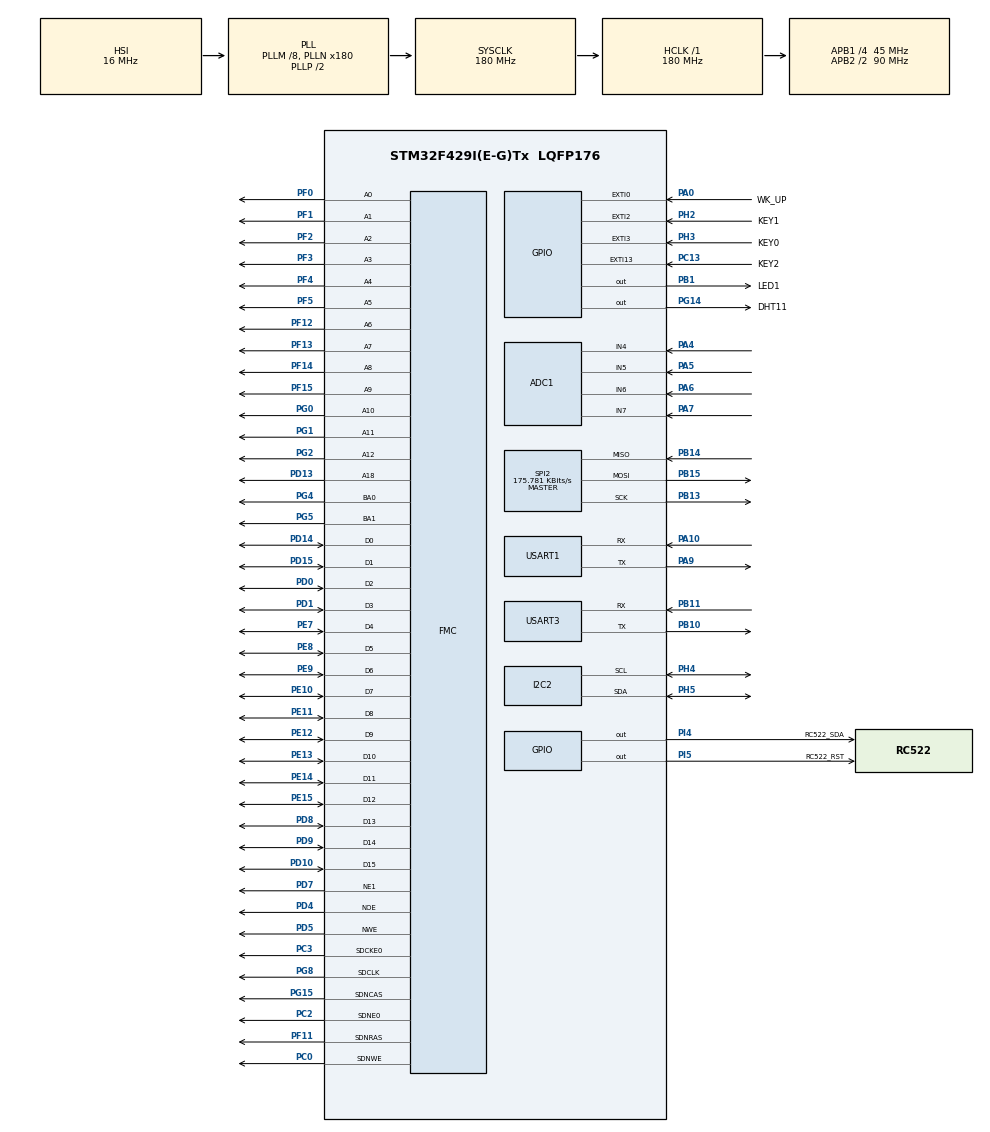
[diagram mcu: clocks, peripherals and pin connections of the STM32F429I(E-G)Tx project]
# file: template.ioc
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ADC1.Channel-4\#ChannelRegularConversion=ADC_CHANNEL_4
ADC1.Channel-5\#ChannelRegularConversion=ADC_CHANNEL_5
ADC1.Channel-6\#ChannelRegularConversion=ADC_CHANNEL_6
ADC1.Channel-7\#ChannelRegularConversion=ADC_CHANNEL_7
ADC1.ContinuousConvMode=ENABLE
ADC1.DMAContinuousRequests=ENABLE
ADC1.NbrOfConversion=4
ADC1.NbrOfConversionFlag=1
ADC1.Rank-4\#ChannelRegularConversion=1
ADC1.Rank-5\#ChannelRegularConversion=2
ADC1.Rank-6\#ChannelRegularConversion=3
ADC1.Rank-7\#ChannelRegularConversion=4
ADC1.SamplingTime-4\#ChannelRegularConversion=ADC_SAMPLETIME_15CYCLES
ADC1.SamplingTime-5\#ChannelRegularConversion=ADC_SAMPLETIME_15CYCLES
ADC1.SamplingTime-6\#ChannelRegularConversion=ADC_SAMPLETIME_15CYCLES
ADC1.SamplingTime-7\#ChannelRegularConversion=ADC_SAMPLETIME_15CYCLES
ADC1.ScanConvMode=ENABLE
ADC1.master=1
Dma.ADC1.1.Direction=DMA_PERIPH_TO_MEMORY
Dma.ADC1.1.FIFOMode=DMA_FIFOMODE_DISABLE
Dma.ADC1.1.Instance=DMA2_Stream0
Dma.ADC1.1.MemDataAlignment=DMA_MDATAALIGN_WORD
Dma.ADC1.1.MemInc=DMA_MINC_ENABLE
Dma.ADC1.1.Mode=DMA_CIRCULAR
Dma.ADC1.1.PeriphDataAlignment=DMA_PDATAALIGN_WORD
Dma.ADC1.1.PeriphInc=DMA_PINC_DISABLE
Dma.ADC1.1.Priority=DMA_PRIORITY_LOW
Dma.Request0=USART3_RX
Dma.Request1=ADC1
Dma.USART3_RX.0.Direction=DMA_PERIPH_TO_MEMORY
Dma.USART3_RX.0.FIFOMode=DMA_FIFOMODE_DISABLE
Dma.USART3_RX.0.Instance=DMA1_Stream1
Dma.USART3_RX.0.MemDataAlignment=DMA_MDATAALIGN_BYTE
Dma.USART3_RX.0.MemInc=DMA_MINC_ENABLE
Dma.USART3_RX.0.Mode=DMA_NORMAL
Dma.USART3_RX.0.PeriphDataAlignment=DMA_PDATAALIGN_BYTE
Dma.USART3_RX.0.PeriphInc=DMA_PINC_DISABLE
Dma.USART3_RX.0.Priority=DMA_PRIORITY_LOW
FMC.BusTurnAroundDuration1=1
FMC.CASLatency1=FMC_SDRAM_CAS_LATENCY_3
FMC.ColumnBitsNumber1=FMC_SDRAM_COLUMN_BITS_NUM_9
FMC.DataSetupTime1=46
FMC.ExitSelfRefreshDelay1=8
FMC.ExtendedBusTurnAroundDuration1=1
FMC.ExtendedDataSetupTime1=15
FMC.ExtendedMode1=FMC_EXTENDED_MODE_ENABLE
FMC.LoadToActiveDelay1=2
FMC.RCDDelay1=2
FMC.RPDelay1=2
FMC.ReadBurst1=FMC_SDRAM_RBURST_ENABLE
FMC.ReadPipeDelay1=FMC_SDRAM_RPIPE_DELAY_1
FMC.RowCycleDelay1=6
FMC.SDClockPeriod1=FMC_SDRAM_CLOCK_PERIOD_2
FMC.SelfRefreshTime1=6
FMC.WriteOperation1=FMC_WRITE_OPERATION_ENABLE
FMC.WriteRecoveryTime1=4
IWDG.Prescaler=IWDG_PRESCALER_64
Mcu.Family=STM32F4
Mcu.Name=STM32F429I(E-G)Tx
Mcu.Package=LQFP176
NVIC.DMA1_Stream1_IRQn=true\:0\:0\:false\:false\:true\:false\:true\:true
NVIC.DMA2_Stream0_IRQn=true\:0\:0\:false\:false\:true\:false\:true\:true
NVIC.EXTI0_IRQn=true\:3\:0\:true\:false\:true\:true\:true\:true
NVIC.EXTI15_10_IRQn=true\:3\:0\:true\:false\:true\:true\:true\:true
NVIC.EXTI2_IRQn=true\:3\:0\:true\:false\:true\:true\:true\:true
NVIC.EXTI3_IRQn=true\:3\:0\:true\:false\:true\:true\:true\:true
NVIC.PriorityGroup=NVIC_PRIORITYGROUP_4
NVIC.TIM1_UP_TIM10_IRQn=true\:2\:0\:true\:false\:true\:true\:true\:true
NVIC.USART3_IRQn=true\:0\:0\:false\:false\:true\:true\:true\:true
PA0/WKUP.GPIO_Label=WK_UP
PA0/WKUP.GPIO_PuPd=GPIO_PULLDOWN
PA0/WKUP.Signal=GPXTI0
PA10.Mode=Asynchronous
PA10.Signal=USART1_RX
PA13.Mode=Serial_Wire
PA13.Signal=SYS_JTMS-SWDIO
PA14.Mode=Serial_Wire
PA14.Signal=SYS_JTCK-SWCLK
PA4.Signal=ADCx_IN4
PA5.Signal=ADCx_IN5
PA6.Signal=ADCx_IN6
PA7.Signal=ADCx_IN7
PA9.Mode=Asynchronous
PA9.Signal=USART1_TX
PB1.GPIO_Label=LED1
PB1.Signal=GPIO_Output
PB10.Mode=Asynchronous
PB10.Signal=USART3_TX
PB11.Mode=Asynchronous
PB11.Signal=USART3_RX
PB13.Mode=Full_Duplex_Master
PB13.Signal=SPI2_SCK
PB14.Mode=Full_Duplex_Master
PB14.Signal=SPI2_MISO
PB15.Mode=Full_Duplex_Master
PB15.Signal=SPI2_MOSI
PC0.Signal=FMC_SDNWE
PC13.GPIO_Label=KEY2
PC13.GPIO_PuPd=GPIO_PULLUP
PC13.Signal=GPXTI13
PC14/OSC32_IN.Mode=LSE-External-Oscillator
PC14/OSC32_IN.Signal=RCC_OSC32_IN
PC15/OSC32_OUT.Mode=LSE-External-Oscillator
PC15/OSC32_OUT.Signal=RCC_OSC32_OUT
PC2.Mode=SdramChipSelect1_1
PC2.Signal=FMC_SDNE0
PC3.Mode=SdramChipSelect1_1
PC3.Signal=FMC_SDCKE0
PD0.Signal=FMC_D2_DA2
PD1.Signal=FMC_D3_DA3
PD10.Signal=FMC_D15_DA15
PD13.Signal=FMC_A18
PD14.Signal=FMC_D0_DA0
PD15.Signal=FMC_D1_DA1
PD4.Signal=FMC_NOE
PD5.Signal=FMC_NWE
PD7.Mode=NorPsramChipSelect1_1
PD7.Signal=FMC_NE1
PD8.Signal=FMC_D13_DA13
PD9.Signal=FMC_D14_DA14
PE0.Signal=FMC_NBL0
PE1.Signal=FMC_NBL1
PE10.Signal=FMC_D7_DA7
PE11.Signal=FMC_D8_DA8
PE12.Signal=FMC_D9_DA9
PE13.Signal=FMC_D10_DA10
PE14.Signal=FMC_D11_DA11
PE15.Signal=FMC_D12_DA12
PE7.Signal=FMC_D4_DA4
PE8.Signal=FMC_D5_DA5
PE9.Signal=FMC_D6_DA6
PF0.Signal=FMC_A0
PF1.Signal=FMC_A1
PF11.Signal=FMC_SDNRAS
PF12.Signal=FMC_A6
PF13.Signal=FMC_A7
PF14.Signal=FMC_A8
PF15.Signal=FMC_A9
PF2.Signal=FMC_A2
PF3.Signal=FMC_A3
PF4.Signal=FMC_A4
PF5.Signal=FMC_A5
PG0.Signal=FMC_A10
PG1.Signal=FMC_A11
PG14.GPIO_Label=DHT11
PG14.Signal=GPIO_Output
PG15.Signal=FMC_SDNCAS
PG2.Signal=FMC_A12
PG4.Signal=FMC_A14_BA0
PG5.Signal=FMC_A15_BA1
PG8.Signal=FMC_SDCLK
PH0/OSC_IN.Mode=HSE-External-Oscillator
PH0/OSC_IN.Signal=RCC_OSC_IN
PH1/OSC_OUT.Mode=HSE-External-Oscillator
PH1/OSC_OUT.Signal=RCC_OSC_OUT
PH2.GPIO_Label=KEY1
PH2.GPIO_PuPd=GPIO_PULLUP
PH2.Signal=GPXTI2
PH3.GPIO_Label=KEY0
PH3.GPIO_PuPd=GPIO_PULLUP
PH3.Signal=GPXTI3
PH4.Mode=I2C
PH4.Signal=I2C2_SCL
PH5.Mode=I2C
PH5.Signal=I2C2_SDA
PI4.GPIO_Label=RC522_SDA
PI4.Signal=GPIO_Output
PI5.GPIO_Label=RC522_RST
PI5.Signal=GPIO_Output
ProjectManager.HeapSize=0xF00
ProjectManager.StackSize=0xF00
ProjectManager.TargetToolchain=MDK-ARM V5.32
RCC.48MHZClocksFreq_Value=90000000
RCC.AHBFreq_Value=180000000
RCC.APB1CLKDivider=RCC_HCLK_DIV4
RCC.APB1Freq_Value=45000000
RCC.APB1TimFreq_Value=90000000
RCC.APB2CLKDivider=RCC_HCLK_DIV2
RCC.APB2Freq_Value=90000000
RCC.APB2TimFreq_Value=180000000
RCC.CortexFreq_Value=180000000
RCC.HCLKFreq_Value=180000000
RCC.HSE_VALUE=25000000
RCC.HSI_VALUE=16000000
RCC.PLLM=8
RCC.PLLN=180
RCC.SYSCLKFreq_VALUE=180000000
RCC.SYSCLKSource=RCC_SYSCLKSOURCE_PLLCLK
RCC.VCOOutputFreq_Value=360000000
SH.ADCx_IN4.0=ADC1_IN4,IN4
SH.ADCx_IN5.0=ADC1_IN5,IN5
SH.ADCx_IN6.0=ADC1_IN6,IN6
SH.ADCx_IN7.0=ADC1_IN7,IN7
SH.FMC_A0.0=FMC_A0,13b-sda1
SH.FMC_A1.0=FMC_A1,13b-sda1
SH.FMC_A10.0=FMC_A10,13b-sda1
SH.FMC_A11.0=FMC_A11,13b-sda1
SH.FMC_A12.0=FMC_A12,13b-sda1
SH.FMC_A14_BA0.0=FMC_BA0,FourSdramBanks1
SH.FMC_A15_BA1.0=FMC_BA1,FourSdramBanks1
SH.FMC_A18.0=FMC_A18,A18_1
SH.FMC_A2.0=FMC_A2,13b-sda1
SH.FMC_A3.0=FMC_A3,13b-sda1
SH.FMC_A4.0=FMC_A4,13b-sda1
SH.FMC_A5.0=FMC_A5,13b-sda1
SH.FMC_A6.0=FMC_A6,13b-sda1
SH.FMC_A7.0=FMC_A7,13b-sda1
SH.FMC_A8.0=FMC_A8,13b-sda1
SH.FMC_A9.0=FMC_A9,13b-sda1
SH.FMC_D0_DA0.0=FMC_D0,16b-d1
SH.FMC_D0_DA0.1=FMC_D0,sd-16b-d1
SH.FMC_D10_DA10.0=FMC_D10,16b-d1
SH.FMC_D10_DA10.1=FMC_D10,sd-16b-d1
SH.FMC_D11_DA11.0=FMC_D11,16b-d1
SH.FMC_D11_DA11.1=FMC_D11,sd-16b-d1
SH.FMC_D12_DA12.0=FMC_D12,16b-d1
SH.FMC_D12_DA12.1=FMC_D12,sd-16b-d1
SH.FMC_D13_DA13.0=FMC_D13,16b-d1
SH.FMC_D13_DA13.1=FMC_D13,sd-16b-d1
SH.FMC_D14_DA14.0=FMC_D14,16b-d1
SH.FMC_D14_DA14.1=FMC_D14,sd-16b-d1
SH.FMC_D15_DA15.0=FMC_D15,16b-d1
SH.FMC_D15_DA15.1=FMC_D15,sd-16b-d1
SH.FMC_D1_DA1.0=FMC_D1,16b-d1
SH.FMC_D1_DA1.1=FMC_D1,sd-16b-d1
SH.FMC_D2_DA2.0=FMC_D2,16b-d1
SH.FMC_D2_DA2.1=FMC_D2,sd-16b-d1
SH.FMC_D3_DA3.0=FMC_D3,16b-d1
SH.FMC_D3_DA3.1=FMC_D3,sd-16b-d1
SH.FMC_D4_DA4.0=FMC_D4,16b-d1
SH.FMC_D4_DA4.1=FMC_D4,sd-16b-d1
SH.FMC_D5_DA5.0=FMC_D5,16b-d1
SH.FMC_D5_DA5.1=FMC_D5,sd-16b-d1
SH.FMC_D6_DA6.0=FMC_D6,16b-d1
SH.FMC_D6_DA6.1=FMC_D6,sd-16b-d1
SH.FMC_D7_DA7.0=FMC_D7,16b-d1
SH.FMC_D7_DA7.1=FMC_D7,sd-16b-d1
SH.FMC_D8_DA8.0=FMC_D8,16b-d1
SH.FMC_D8_DA8.1=FMC_D8,sd-16b-d1
SH.FMC_D9_DA9.0=FMC_D9,16b-d1
SH.FMC_D9_DA9.1=FMC_D9,sd-16b-d1
SH.FMC_NBL0.0=FMC_NBL0
SH.FMC_NBL1.0=FMC_NBL1
SH.FMC_NOE.0=FMC_NOE,Lcd1
SH.FMC_NWE.0=FMC_NWE,Lcd1
SH.FMC_SDCLK.0=FMC_SDCLK,13b-sda1
SH.FMC_SDNCAS.0=FMC_SDNCAS,13b-sda1
SH.FMC_SDNRAS.0=FMC_SDNRAS,13b-sda1
SH.FMC_SDNWE.0=FMC_SDNWE,13b-sda1
SPI2.BaudRatePrescaler=SPI_BAUDRATEPRESCALER_256
SPI2.CalculateBaudRate=175.781 KBits/s
SPI2.Direction=SPI_DIRECTION_2LINES
SPI2.Mode=SPI_MODE_MASTER
SPI2.VirtualType=VM_MASTER
TIM1.Period=10000
TIM1.Prescaler=18000
USART1.VirtualMode=VM_ASYNC
USART3.VirtualMode=VM_ASYNC
VP_IWDG_VS_IWDG.Mode=IWDG_Activate
VP_TIM1_VS_ClockSourceINT.Mode=Internal
board=custom

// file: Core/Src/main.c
/* USER CODE BEGIN Header */
/**
  ******************************************************************************
  * @file           : main.c
  * @brief          : Main program body
  ******************************************************************************
  * @attention
  *
  * Copyright (c) 2023 STMicroelectronics.
  * All rights reserved.
  *
  * This software is licensed under terms that can be found in the LICENSE file
  * in the root directory of this software component.
  * If no LICENSE file comes with this software, it is provided AS-IS.
  *
  ******************************************************************************
  */
/* USER CODE END Header */
#include "main.h"
#include "adc.h"
#include "dma.h"
#include "i2c.h"
#include "iwdg.h"
#include "spi.h"
#include "tim.h"
#include "usart.h"
#include "gpio.h"
#include "fmc.h"

/* USER CODE BEGIN Includes */
#include "wifi.h"
#include "onenet.h"
#include "lcd.h"
#include "24c02.h"
#include "sdram.h"
#include "key.h"
#include "malloc.h"
#include "PCF8574.h"
#include "dht11.h"
#include "rc522.h"
/* USER CODE END Includes */

/* USER CODE BEGIN PTD */

#define AT_24_DATA_MAX 100
struct AT24CDATA
{
	uint8_t 	arr[AT_24_DATA_MAX];
	uint16_t 	len;
	uint16_t	addr;
};

/* USER CODE END PTD */

/* USER CODE BEGIN PV */
void sensor_read_data(void);
/* USER CODE END PV */

void SystemClock_Config(void);

/* USER CODE BEGIN 0 */
uint8_t net_connect = 0;            // 网咯是否连接的标志位
uint8_t connet_send_flag = 0;
uint32_t adc_value[40];              //adc数据缓冲区

uint32_t value1=0,value2=0,value3=0,value4=0;
uint8_t i=0;                         //for循环用到的变量而已

double temperature=0;               //温度
double humidity=0;                  //湿度
uint32_t Lighting=0,Turbidity=0,Gas=0;   //光照，浊度，烟雾的数据
char buf1[128];
//char buf2[40];
uint8_t at_data_arr[256];
uint16_t at24_addr = 0;
float voltage = 0;  // 电压

uint8_t cmd_flag = 0;    // 命令打印标志位

//void sensor_read_data(void);

extern uint8_t net_connect;
struct AT24CDATA at_data_struct = {0};    // 掉电的结构体

char json_arr[256];

extern uint8_t Data[5];
/* USER CODE END 0 */

int main(void)
{
  /* USER CODE BEGIN 1 */
    uint16_t timeCount = 0;
//	uint16_t time_wwdg = 0;
    unsigned char *dataPtr = NULL;
	uint8_t net_cone_num = 0;
  /* USER CODE END 1 */

  /* MCU Configuration--------------------------------------------------------*/

  /* Reset of all peripherals, Initializes the Flash interface and the Systick. */
  HAL_Init();

  /* Configure the system clock */
  SystemClock_Config();

  /* Initialize all configured peripherals */
  MX_GPIO_Init();
  MX_DMA_Init();
  MX_USART1_UART_Init();
  MX_USART3_UART_Init();
  MX_FMC_Init();
  MX_ADC1_Init();
  MX_I2C2_Init();
  MX_TIM1_Init();
  MX_SPI2_Init();
  MX_IWDG_Init();
  /* USER CODE BEGIN 2 */

	delay_init(180);
	LCD_Init();
	while(AT24C02_Check()){}
	while(pcf8574_Check()){}

	RC522_Init();
//	printf("等待管理员的卡\r\n");
//	while(ReaderCard()==0)

	DHT11_Init();

	SDRAM_Init();

	my_mem_init(SRAMIN);		    //初始化内部内存池
	my_mem_init(SRAMEX);		    //初始化外部内存池
	my_mem_init(SRAMCCM);		    //初始化CCM内存池

	KEY_Init();

	HAL_TIM_Base_Start_IT(&htim1);

	LCD_ShowString(10,40,240,32,32,"Apollo STM32F4/F7");
	LCD_ShowString(10,80,240,24,24,"TFTLCD TEST");
	LCD_ShowString(10,110,240,16,16,"ATOM@ALIENTEK");
// 		LCD_ShowString(10,130,240,16,16,lcd_id);		//显示LCD ID
	LCD_ShowString(10,150,240,12,12,"2016/1/6");

  /* USER CODE END 2 */

  /* Infinite loop */
  /* USER CODE BEGIN WHILE */

  while (1)
  {
//	  printf("sdjj\r\n");
		if(net_connect == 1)   // 连接成功
        {
			if(timeCount%10==0)
			{
				// 发送数据
				sensor_read_data();

			}
			++timeCount;
//			if(timeCount==50)
//			{
//				HAL_IWDG_Refresh(&hiwdg);               // 喂狗
//			}

            if(timeCount >= 20)		//时间间隔5s 发送
            {

//				OneNet_SendData_State("EEROR");

                HAL_Delay(100);
                printf( "开始发送数据\r\n");//通过串口1发送提示信息（要开始发送数据了）
                OneNet_SendData();//发送数据给onenet
                printf("发送数据结束\n");
//				while(OneNet_DevLink())			//接入OneNET
                timeCount = 0;
                ESP8266_Clear();
            }
//            ESP8266_GetIPD(0);//获取平台返回的数据
            dataPtr = ESP8266_GetIPD(0);//获取平台返回的数据
            if(dataPtr != NULL)//如果返回数据不为空
                OneNet_RevPro(dataPtr);//平台返回数据检测

            HAL_Delay(20);
        }

		else if(net_connect == 2||net_connect == 3)
		{
			++timeCount;

//==============================================================    断网数据采集 ===================================
			if(timeCount%4==0)
			{

				//发送数据
				sensor_read_data();
				OneNet_FillBuf(json_arr,1);
				// 掉电保存

				AT24C02_write(at_data_struct.addr,(uint8_t *)json_arr,strlen(json_arr));
				at_data_struct.arr[at_data_struct.len++] = strlen(json_arr);
				memset(at_data_arr,0,sizeof(at_data_arr));
				AT24C02_read(at_data_struct.addr,at_data_arr,strlen(json_arr));
				printf("断网保存成功 = %s\r\n",at_data_arr);
				at_data_struct.addr += strlen(json_arr);
				timeCount = 0;
//				HAL_IWDG_Refresh(&hiwdg);               // 喂狗
			}

// ==========================================net_connect=2 尝试重连==================================
			if(net_connect == 2)
			{
				if(ESP8266_SendCmd("AT\r\n", "OK")==0)
				{
					if(ESP8266_SendCmd("AT+RST\r\n", "ready")==0)
					{
	//					HAL_Delay(2000);
	//					Usart_SendString(USART2, (unsigned char *)"AT+RST\r\n", strlen((const char *)"AT+RST\r\n"));
						HAL_Delay(200);
						if(ESP8266_SendCmd("AT+CWMODE=1\r\n", "OK")==0)
						{
							if(ESP8266_SendCmd("AT+CWDHCP=1,1\r\n", "OK")==0)
							{
//								HAL_Delay(200);
								while(ESP8266_SendCmd(ESP8266_WIFI_INFO, "GOT IP")){}
								while(ESP8266_SendCmd(ESP8266_WIFI_INFO, "GOT IP"))
								{
									net_cone_num++;
									if(net_cone_num>20){

										break;
									}
//									}
								}
								if(net_cone_num<20)
								{
									net_connect = 3;
									printf("net_connet = %d\r\n",net_connect);
								}
								net_cone_num = 0;
							}
						}
					}
				}
			}
			if(net_connect == 3)
			{
				net_cone_num = 5;
				printf("进入net_connet = %d\r\n",net_connect);
				while(ESP8266_SendCmd(ESP8266_ONENET_INFO, "CONNECT")==0)
				{
					while(OneNet_DevLink())			//接入OneNET
					{
						if(net_connect==2)
							break;
					}
					if(net_connect!=2)
					{
						HAL_Delay(1000);
						printf("接入onenet成功");
						net_connect  = 1;
						at24_addr = 0;

						for(i=0;i<at_data_struct.len;i++)
						{
							memset(at_data_arr,0,sizeof(at_data_arr));
							AT24C02_read(at24_addr,at_data_arr,at_data_struct.arr[i]);
							if(OneNet_SendData_Buff((char *)at_data_arr))
							{
								connet_send_flag = 1;
							}
							at24_addr += at_data_struct.arr[i];
							printf("重发数据 %d = %s\r\n",i,at_data_arr);
						}
						connet_send_flag = 0;
						ESP8266_Clear();									//清空缓存
						break;
					}
//					while()

				}

			}
	  }

    /* USER CODE END WHILE */

    /* USER CODE BEGIN 3 */

		else
        {
            printf("开始连接服务器\r\n");
            ESP8266_Init();					//初始化ESP8266

            printf("8266初始化成功\n");

            while(OneNet_DevLink())			//接入OneNET

            HAL_Delay(500);
            net_connect = 1;
			 HAL_ADC_Start_DMA(&hadc1, (uint32_t *)adc_value, 40);

            printf("接入onenet成功");
        }
  }
  /* USER CODE END 3 */
}

void SystemClock_Config(void)
{
  RCC_OscInitTypeDef RCC_OscInitStruct = {0};
  RCC_ClkInitTypeDef RCC_ClkInitStruct = {0};

  /** Configure the main internal regulator output voltage
  */
  __HAL_RCC_PWR_CLK_ENABLE();
  __HAL_PWR_VOLTAGESCALING_CONFIG(PWR_REGULATOR_VOLTAGE_SCALE1);

  /** Initializes the RCC Oscillators according to the specified parameters
  * in the RCC_OscInitTypeDef structure.
  */
  RCC_OscInitStruct.OscillatorType = RCC_OSCILLATORTYPE_HSI|RCC_OSCILLATORTYPE_LSI;
  RCC_OscInitStruct.HSIState = RCC_HSI_ON;
  RCC_OscInitStruct.HSICalibrationValue = RCC_HSICALIBRATION_DEFAULT;
  RCC_OscInitStruct.LSIState = RCC_LSI_ON;
  RCC_OscInitStruct.PLL.PLLState = RCC_PLL_ON;
  RCC_OscInitStruct.PLL.PLLSource = RCC_PLLSOURCE_HSI;
  RCC_OscInitStruct.PLL.PLLM = 8;
  RCC_OscInitStruct.PLL.PLLN = 180;
  RCC_OscInitStruct.PLL.PLLP = RCC_PLLP_DIV2;
  RCC_OscInitStruct.PLL.PLLQ = 4;
  if (HAL_RCC_OscConfig(&RCC_OscInitStruct) != HAL_OK)
  {
    Error_Handler();
  }

  /** Activate the Over-Drive mode
  */
  if (HAL_PWREx_EnableOverDrive() != HAL_OK)
  {
    Error_Handler();
  }

  /** Initializes the CPU, AHB and APB buses clocks
  */
  RCC_ClkInitStruct.ClockType = RCC_CLOCKTYPE_HCLK|RCC_CLOCKTYPE_SYSCLK
                              |RCC_CLOCKTYPE_PCLK1|RCC_CLOCKTYPE_PCLK2;
  RCC_ClkInitStruct.SYSCLKSource = RCC_SYSCLKSOURCE_PLLCLK;
  RCC_ClkInitStruct.AHBCLKDivider = RCC_SYSCLK_DIV1;
  RCC_ClkInitStruct.APB1CLKDivider = RCC_HCLK_DIV4;
  RCC_ClkInitStruct.APB2CLKDivider = RCC_HCLK_DIV2;

  if (HAL_RCC_ClockConfig(&RCC_ClkInitStruct, FLASH_LATENCY_5) != HAL_OK)
  {
    Error_Handler();
  }
}

/* USER CODE BEGIN 4 */
void sensor_read_data(void)
{
//===============================================dht11读取======================================================
		DHT11_Read_Data(&temperature,&humidity);
		printf("temperature = %.2f		humidity = %.2f\r\n",temperature,humidity);
//================================================================================================================

//===============================================adc通道读取======================================================
		for(i=0,value1=0,value2=0,value3=0,value4=0;i<40;)
		{
			value1+=adc_value[i++];
			value2+=adc_value[i++];
			value3+=adc_value[i++];
			value4+=adc_value[i++];
		}
		printf("value1 = %d    value2 = %d     value3 = %d    value4 = %d\r\n",value1,value2,value3,value4);
		// PA4
		Lighting=(4096-value1/10)*100/4096; //亮度
		printf("检测光亮值为：%d%%\r\n",Lighting);

		voltage=(float)value2/10*(3.3/4096);
		printf("检测电压值为1：%.3fV\r\n",voltage);

		Turbidity = (value3/10)*100/4096;     //浊度
		printf("检测浊度值为：%d\r\n",Turbidity);
		Gas=(4096-value4/10)*100/4096;           //烟雾
		printf("检测烟雾值为：%d%%\r\n",Gas);

		HAL_Delay(2000);
		value1=value2=value3=value4=0;
//====================================================================================================================
}
/* USER CODE END 4 */

void Error_Handler(void)
{
  __disable_irq();
  while (1)
  {
  }
}
